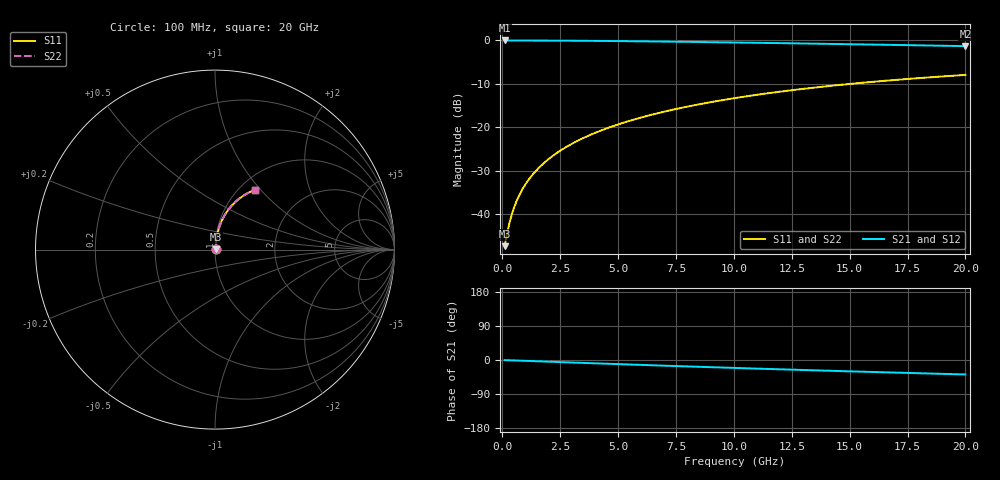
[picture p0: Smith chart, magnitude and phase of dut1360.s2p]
! Touchstone file exported from HFSS 2024.1.0
!  File:  C:/UserFiles/LocalFiles/RDL_TSV_Batchsim/temp_RDL_bottom_1360_1780370711.aedt
!  Generated:  11:28:04 AM Jun  2, 2026
!  Design:  RDL_bottom
!  Project:  temp_RDL_bottom_1360_1780370711
!  Setup:  Setup1
!  Solution:  Sweep
! Variables:
!  dtsv = 10.80580581um
!  hbump = 3um
!  htsv = 91.79um
!  ldown = 497.91um
!  lrdl = 100um
!  p = 40
!  p1 = 49.12um
!  rhole = 1um
!  t = 450um
!  tdown = 2.98um
!  trdl = 3.915915916um
!  wdown = 16.93um
!  wrdl = 20um
# GHz S MA R 50.000000
! Terminal data exported
! Port[1] = RDL1_T1
! Port[2] = RDL1_T2
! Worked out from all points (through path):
!   200 points, 100 MHz to 20 GHz, reference 50 ohm
!   highest |S21| = -0.03 dB at 100 MHz (marker M1); lowest = -1.3 dB at 20 GHz (marker M2)
!   group delay of S21, straight-line fit = 5.29 ps
!   lowest |S11| = -47.3 dB at 100 MHz (marker M3), VSWR 1.01, Z = 50.4 + j0.23 ohm
!   |S11| at or under -10 dB: start of sweep to 15.04 GHz
!   |S22| runs from -47.3 to -7.9 dB; largest |S21 - S12| = 3.8e-15
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0.1  0.004322 31.9  0.9963 -0.2  0.9963 -0.2  0.004322 31.9
! Gamma 0 0 0 0
! Port Impedance 50 0 50 0
0.2  0.005894 50.4  0.9962 -0.5  0.9962 -0.5  0.005894 50.4
0.3  0.007792 60.1  0.9961 -0.7  0.9961 -0.7  0.007791 60.1
0.4  0.009795 65.7  0.9959 -0.9  0.9959 -0.9  0.009795 65.7
0.5  0.01183 69.4  0.9958 -1.1  0.9958 -1.1  0.01183 69.4
0.6  0.01389 72.0  0.9956 -1.4  0.9956 -1.4  0.01389 72.0
0.8  0.01802 75.3  0.9953 -1.8  0.9953 -1.8  0.01802 75.3
1.1  0.02426 78.2  0.9948 -2.5  0.9948 -2.5  0.02426 78.2
1.3  0.02845 79.4  0.9945 -2.9  0.9945 -2.9  0.02845 79.4
1.6  0.03478 80.5  0.9938 -3.6  0.9938 -3.6  0.03478 80.5
2.1  0.0454 81.5  0.9926 -4.7  0.9926 -4.7  0.0454 81.5
2.7  0.05824 81.9  0.9907 -6.0  0.9907 -6.0  0.05824 81.9
3.5  0.07548 81.7  0.9876 -7.7  0.9876 -7.7  0.07548 81.7
4.2  0.09066 81.2  0.9844 -9.2  0.9844 -9.2  0.09066 81.2
5  0.1081 80.4  0.9802 -10.9  0.9802 -10.9  0.1081 80.4
5.9  0.1277 79.3  0.9748 -12.8  0.9748 -12.8  0.1277 79.3
6.8  0.1474 78.1  0.9689 -14.6  0.9689 -14.6  0.1474 78.1
8.4  0.182 75.6  0.9575 -17.8  0.9575 -17.8  0.1821 75.7
10.1  0.2182 72.8  0.9442 -21.1  0.9442 -21.1  0.2183 72.9
13.4  0.285 67.2  0.9165 -27.1  0.9165 -27.1  0.2851 67.2
16.7  0.346 61.6  0.8874 -32.8  0.8874 -32.8  0.3462 61.7
20  0.4004 56.3  0.8579 -38.2  0.8579 -38.2  0.4007 56.3
